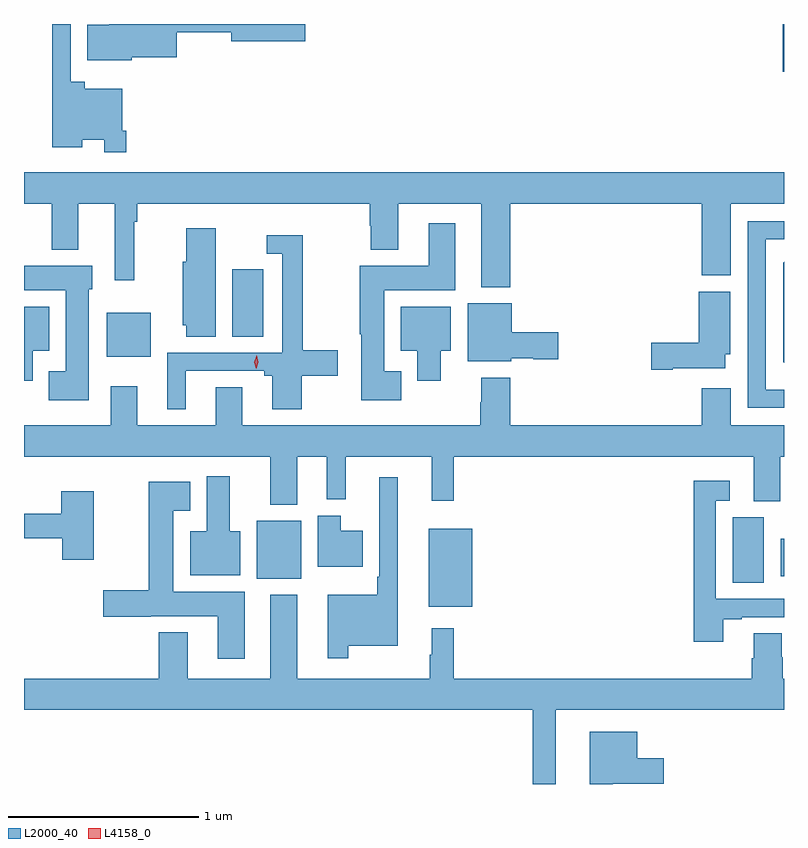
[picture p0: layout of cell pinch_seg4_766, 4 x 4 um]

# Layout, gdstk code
import gdstk
lib = gdstk.Library(unit=1e-6, precision=1e-09)
def R(c, l, rs):  # rectangles x0, y0, x1, y1
    for r in rs: c.add(gdstk.rectangle(r[:2], r[2:], *l))
def P(c, l, *ps):  # polygons
    for p in ps: c.add(gdstk.Polygon(p, *l))
L2000_40 = (2000, 40)
L4158_0 = (4158, 0)

pinch_seg4_766 = lib.new_cell('pinch_seg4_766')
R(pinch_seg4_766, L2000_40, [(795.755,821.339,795.982,821.749), (797.354,821.464,797.518,821.808), (794.849,821.486,795.082,821.791), (797.606,821.499,797.624,821.695), (794.06,822.653,794.29,822.886), (794.72,822.76,794.884,823.114), (797.618,824.153,797.624,824.405)])
P(pinch_seg4_766, L2000_40, [(794.162,823.843),(794.142,823.843),(794.142,824.065),(793.943,824.065),(793.943,824.101),(793.869,824.101),(793.869,824.405),(793.772,824.405),(793.772,823.757),(793.93,823.757),(793.93,823.796),(794.046,823.796),(794.046,823.731),(794.162,823.731)],
  [(794.19,824.231),(794.428,824.231),(794.428,824.362),(794.714,824.362),(794.714,824.315),(795.103,824.315),(795.103,824.405),(794.072,824.405),(794.072,824.401),(793.958,824.401),(793.958,824.213),(794.19,824.213)],
  [(796.184,823.46),(797.192,823.46),(797.192,823.082),(797.344,823.082),(797.344,823.46),(797.624,823.46),(797.624,823.624),(793.624,823.624),(793.624,823.46),(793.769,823.46),(793.769,823.217),(793.909,823.217),(793.909,823.46),(794.102,823.46),(794.102,823.056),(794.204,823.056),(794.204,823.364),(794.219,823.364),(794.219,823.46),(795.443,823.46),(795.443,823.344),(795.448,823.344),(795.448,823.217),(795.595,823.217),(795.595,823.46),(796.031,823.46),(796.031,823.019),(796.184,823.019)],
  [(797.624,822.48),(797.529,822.48),(797.529,823.273),(797.624,823.273),(797.624,823.368),(797.433,823.368),(797.433,822.384),(797.624,822.384)],
  [(795.61,822.577),(795.52,822.577),(795.52,823.004),(795.895,823.004),(795.895,823.357),(795.755,823.357),(795.755,823.132),(795.391,823.132),(795.391,822.772),(795.398,822.772),(795.398,822.425),(795.61,822.425)],
  [(794.632,823.33),(794.477,823.33),(794.477,823.155),(794.459,823.155),(794.459,822.819),(794.477,822.819),(794.477,822.76),(794.632,822.76)],
  [(794.476,822.579),(794.889,822.579),(794.889,822.554),(794.93,822.554),(794.93,822.378),(795.087,822.378),(795.087,822.554),(795.274,822.554),(795.274,822.689),(795.091,822.689),(795.091,823.294),(794.901,823.294),(794.901,823.197),(794.982,823.197),(794.982,822.675),(794.378,822.675),(794.378,822.378),(794.476,822.378)],
  [(797.624,823.153),(797.619,823.148),(797.619,822.626),(797.624,822.621)],
  [(793.966,823.008),(793.984,823.008),(793.984,823.132),(793.624,823.132),(793.624,823.004),(793.844,823.004),(793.844,822.577),(793.754,822.577),(793.754,822.425),(793.966,822.425)],
  [(797.038,822.593),(797.314,822.593),(797.314,822.666),(797.341,822.666),(797.341,822.997),(797.174,822.997),(797.174,822.728),(796.926,822.728),(796.926,822.586),(797.038,822.586)],
  [(796.188,822.647),(796.305,822.647),(796.305,822.64),(796.435,822.64),(796.435,822.782),(796.192,822.782),(796.192,822.934),(795.959,822.934),(795.959,822.629),(796.188,822.629)],
  [(793.669,822.686),(793.756,822.686),(793.756,822.916),(793.624,822.916),(793.624,822.528),(793.669,822.528)],
  [(795.817,822.686),(795.871,822.686),(795.871,822.916),(795.608,822.916),(795.608,822.686),(795.695,822.686),(795.695,822.528),(795.817,822.528)],
  [(795.061,822.128),(795.218,822.128),(795.218,821.903),(795.317,821.903),(795.317,822.128),(795.77,822.128),(795.77,821.895),(795.887,821.895),(795.887,822.128),(797.465,822.128),(797.465,821.893),(797.605,821.893),(797.605,822.128),(797.624,822.128),(797.624,822.292),(797.344,822.292),(797.344,822.487),(797.192,822.487),(797.192,822.292),(796.184,822.292),(796.184,822.544),(796.031,822.544),(796.031,822.413),(796.024,822.413),(796.024,822.292),(794.773,822.292),(794.773,822.494),(794.633,822.494),(794.633,822.292),(794.221,822.292),(794.221,822.499),(794.081,822.499),(794.081,822.292),(793.624,822.292),(793.624,822.128),(794.921,822.128),(794.921,821.876),(795.061,821.876)],
  [(794.761,821.734),(794.707,821.734),(794.707,822.025),(794.585,822.025),(794.585,821.734),(794.498,821.734),(794.498,821.504),(794.761,821.504)],
  [(795.331,821.132),(795.592,821.132),(795.592,822.019),(795.495,822.019),(795.495,821.497),(795.483,821.497),(795.483,821.401),(795.222,821.401),(795.222,821.067),(795.331,821.067)],
  [(797.305,821.271),(797.401,821.271),(797.401,821.283),(797.624,821.283),(797.624,821.379),(797.265,821.379),(797.265,821.895),(797.338,821.895),(797.338,822.001),(797.149,822.001),(797.149,821.154),(797.305,821.154)],
  [(794.785,821.416),(794.41,821.416),(794.41,821.843),(794.5,821.843),(794.5,821.995),(794.281,821.995),(794.281,821.426),(794.04,821.426),(794.04,821.284),(794.292,821.284),(794.292,821.288),(794.645,821.288),(794.645,821.064),(794.785,821.064)],
  [(793.992,821.947),(793.819,821.947),(793.819,821.827),(793.624,821.827),(793.624,821.698),(793.826,821.698),(793.826,821.586),(793.992,821.586)],
  [(795.406,821.737),(795.292,821.737),(795.292,821.818),(795.17,821.818),(795.17,821.549),(795.406,821.549)],
  [(796.423,820.796),(797.624,820.796),(797.624,820.96),(797.618,820.96),(797.618,821.073),(797.613,821.073),(797.613,821.198),(797.465,821.198),(797.465,821.066),(797.453,821.066),(797.453,820.96),(795.887,820.96),(795.887,821.224),(795.77,821.224),(795.77,821.084),(795.759,821.084),(795.759,820.96),(795.061,820.96),(795.061,821.401),(794.921,821.401),(794.921,820.96),(794.485,820.96),(794.485,821.203),(794.333,821.203),(794.333,820.96),(793.624,820.96),(793.624,820.796),(796.302,820.796),(796.302,820.405),(796.423,820.405)],
  [(796.723,820.406),(796.99,820.406),(796.99,820.54),(796.852,820.54),(796.852,820.681),(796.601,820.681),(796.601,820.405),(796.723,820.405)])
P(pinch_seg4_766, L4158_0, [(794.846,822.59),(794.837,822.626),(794.848,822.662),(794.848,822.662),(794.848,822.662),(794.857,822.626),(794.847,822.59),(794.847,822.59)])

lib.write_gds('pinch_seg4_766.gds')
